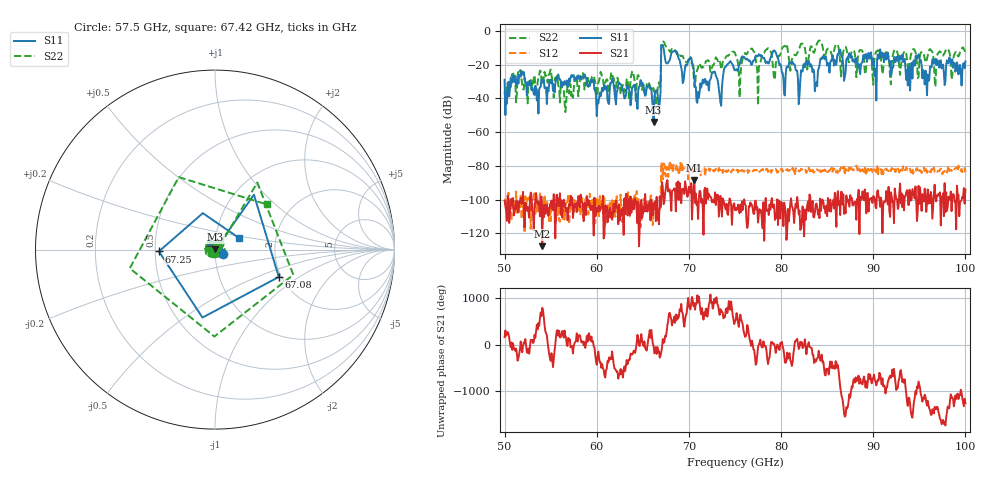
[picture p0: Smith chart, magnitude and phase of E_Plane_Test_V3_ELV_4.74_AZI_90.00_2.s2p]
! 11/26/2026 4:00:22 PM
! C:\ANRITSUVNA\TEMP\TEMP.S2P
! CHANNEL.1
! TR.MEASUREMENT
! RAW.DATA
# HZ S RI R 50.0
! FREQ.HZ  S11RE  S11IM  S21RE  S21IM  S12RE  S12IM  S22RE  S22IM
!; PortSelection: Port_12
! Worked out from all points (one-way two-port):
!   601 points, 50 GHz to 100 GHz, reference 50 ohm
!   highest |S21| = -88.37 dB at 70.58 GHz (marker M1); lowest = -127.7 dB at 54.08 GHz (marker M2)
!   lowest |S11| = -54.0 dB at 66.17 GHz (marker M3), VSWR 1.00, Z = 50.1 + j0.143 ohm
!   |S11| at or under -10 dB: start of sweep to 67 GHz; 67.25 GHz to end of sweep
!   |S22| runs from -48.1 to -5.6 dB; largest |S21 - S12| = 0.00014
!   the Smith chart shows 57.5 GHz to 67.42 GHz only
!   S11 on the Smith chart (normalised r, x): 57.5 GHz: 1.09, -0.05; 67.08 GHz: 1.94, -0.69; 67.25 GHz: 0.52, -0.01; 67.42 GHz: 1.29, +0.17
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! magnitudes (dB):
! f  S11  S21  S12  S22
! 50 GHz  -28.9  -100.7  -100.2  -35.9
! 54.08 GHz  -30.1  -127.7  -101.1  -27.8
! 57.5 GHz  -26.1  -105.4  -100.3  -34.7
! 58.42 GHz  -27.1  -101.5  -99.2  -24.7
! 60.17 GHz  -42.9  -104.6  -103.0  -30.4
! 66.17 GHz  -54.0  -102.5  -106.8  -34.0
! 66.67 GHz  -41.5  -106.6  -104.0  -31.7
! 67.08 GHz  -8.3  -89.7  -80.0  -6.8
! 67.25 GHz  -10.1  -102.7  -78.7  -6.3
! 67.42 GHz  -16.6  -96.3  -84.8  -8.3
! 70.58 GHz  -27.2  -88.4  -81.2  -33.2
! 73.42 GHz  -42.1  -97.9  -83.2  -19.6
! 74.08 GHz  -20.4  -102.5  -83.7  -14.9
! 75 GHz  -23.3  -106.3  -82.8  -13.0
! 79.25 GHz  -11.5  -103.0  -82.2  -28.8
! 80.25 GHz  -27.8  -115.8  -81.9  -9.3
! 83.42 GHz  -24.3  -100.9  -82.4  -10.8
! 91.67 GHz  -16.7  -92.5  -83.2  -15.2
! 93.75 GHz  -32.4  -97.3  -82.3  -21.4
! 94.83 GHz  -15.1  -106.3  -83.1  -27.9
! 95.83 GHz  -38.1  -102.3  -84.2  -16.5
! 100 GHz  -18.0  -94.0  -83.8  -12.6
